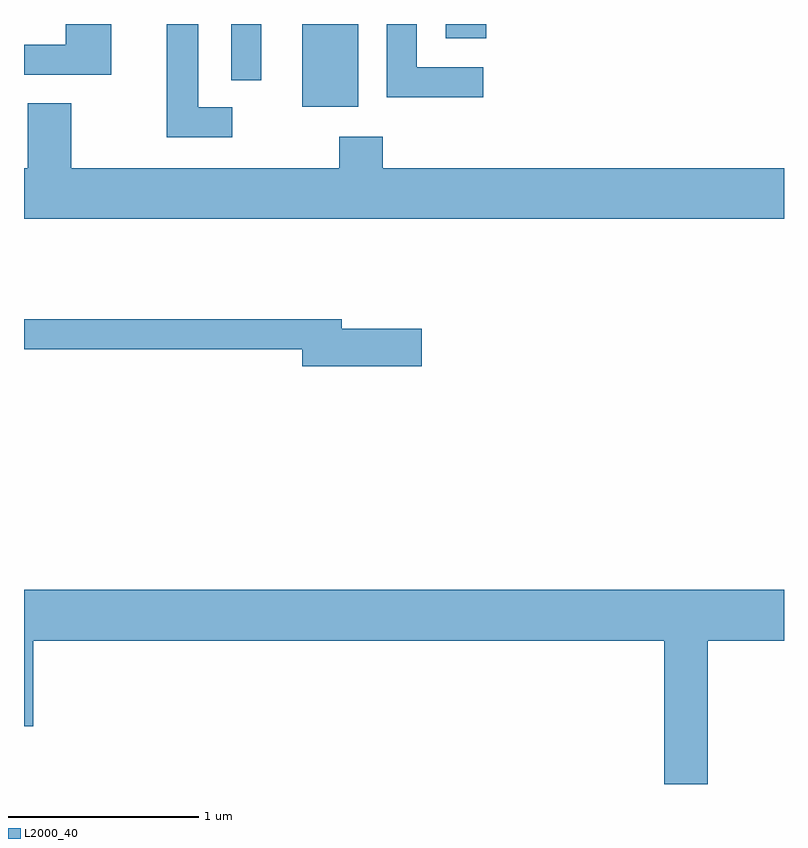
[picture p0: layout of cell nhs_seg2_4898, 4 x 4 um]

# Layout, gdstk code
import gdstk
lib = gdstk.Library(unit=1e-6, precision=1e-09)
def R(c, l, rs):  # rectangles x0, y0, x1, y1
    for r in rs: c.add(gdstk.rectangle(r[:2], r[2:], *l))
def P(c, l, *ps):  # polygons
    for p in ps: c.add(gdstk.Polygon(p, *l))
L2000_40 = (2000, 40)

nhs_seg2_4898 = lib.new_cell('nhs_seg2_4898')
R(nhs_seg2_4898, L2000_40, [(331.076,1033.366,331.369,1033.802), (330.701,1033.507,330.859,1033.802), (331.831,1033.726,332.044,1033.802)])
P(nhs_seg2_4898, L2000_40, [(332.028,1033.574),(331.679,1033.574),(331.679,1033.802),(331.521,1033.802),(331.521,1033.416),(332.028,1033.416)],
  [(330.069,1033.802),(329.831,1033.802),(329.831,1033.694),(329.611,1033.694),(329.611,1033.536),(330.069,1033.536)],
  [(330.708,1033.364),(330.529,1033.364),(330.529,1033.802),(330.361,1033.802),(330.361,1033.206),(330.708,1033.206)],
  [(333.611,1033.044),(331.499,1033.044),(331.499,1033.209),(331.271,1033.209),(331.271,1033.044),(329.859,1033.044),(329.859,1033.384),(329.631,1033.384),(329.631,1033.044),(329.611,1033.044),(329.611,1032.776),(333.611,1032.776)],
  [(331.704,1032.199),(331.284,1032.199),(331.284,1032.249),(329.611,1032.249),(329.611,1032.091),(331.076,1032.091),(331.076,1032.001),(331.704,1032.001)],
  [(333.209,1030.556),(333.611,1030.556),(333.611,1030.824),(329.611,1030.824),(329.611,1030.106),(329.659,1030.106),(329.659,1030.556),(332.981,1030.556),(332.981,1029.802),(333.209,1029.802)])

lib.write_gds('nhs_seg2_4898.gds')
